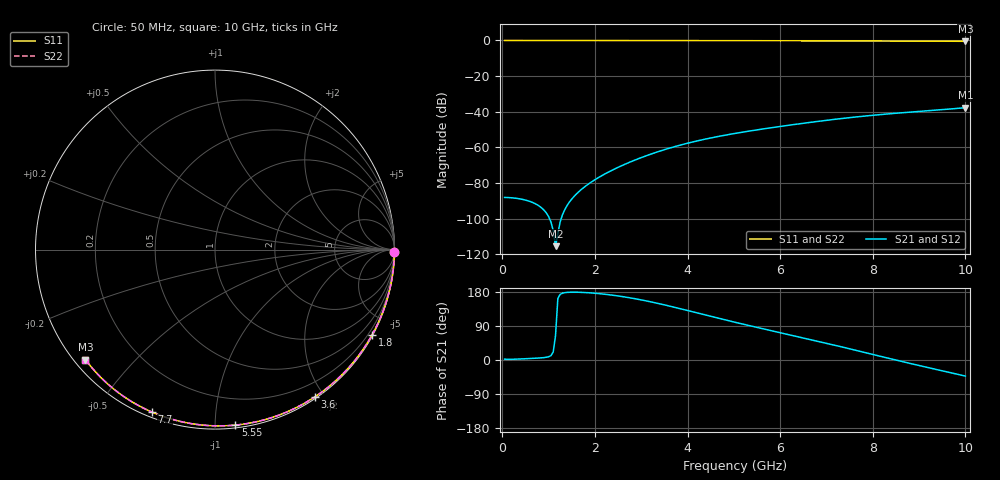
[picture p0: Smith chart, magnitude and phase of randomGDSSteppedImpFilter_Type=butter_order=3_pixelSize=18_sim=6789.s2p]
! freq	dB(S11)	phase(S11)	dB(S12)	phase(S12)
!  dB(S21)	phase(S21)	dB(S22)	phase(S22)
!S-par simulation data
#  GHz  S  DB  R 50
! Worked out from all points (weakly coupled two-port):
!   200 points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, 50 MHz to 10 GHz, reference 50 ohm
!   highest |S21| = -37.71 dB at 10 GHz (marker M1); lowest = -115.4 dB at 1.15 GHz (marker M2)
!   lowest |S11| = -0.5 dB at 10 GHz (marker M3), VSWR 36.75, Z = 1.54 - j18.4 ohm
!   |S11| at or under -10 dB: nowhere
!   |S22| runs from -0.5 to 0.0 dB; largest |S21 - S12| = 0
!   S11 on the Smith chart (normalised r, x): 50 MHz: open; 1.8 GHz: 0.03, -3.92; 3.6 GHz: 0.02, -1.88; 5.55 GHz: 0.02, -1.12; 7.7 GHz: 0.02, -0.68; 10 GHz: 0.03, -0.37
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0.05  -0.00 -0.8  -88.05 2.3  -88.05 2.3  -0.00 -0.8
0.6  -0.01 -9.7  -90.33 3.9  -90.33 3.9  -0.01 -9.7
1.15  -0.02 -18.4  -115.39 65.0  -115.39 65.0  -0.02 -18.4
1.75  -0.04 -27.8  -82.67 178.3  -82.67 178.3  -0.04 -27.8
1.8  -0.04 -28.6  -81.66 177.9  -81.66 177.9  -0.04 -28.6
1.9  -0.04 -30.2  -79.81 177.1  -79.81 177.1  -0.04 -30.2
2.05  -0.04 -32.5  -77.32 175.6  -77.32 175.6  -0.04 -32.5
2.25  -0.05 -35.6  -74.39 173.1  -74.39 173.1  -0.05 -35.6
2.65  -0.05 -41.7  -69.41 166.3  -69.41 166.3  -0.05 -41.7
3  -0.06 -47.0  -65.72 158.6  -65.72 158.6  -0.06 -47.0
3.4  -0.07 -52.9  -62.08 148.3  -62.08 148.3  -0.07 -52.9
3.6  -0.08 -55.9  -60.48 142.6  -60.48 142.6  -0.08 -55.9
3.9  -0.08 -60.3  -58.30 133.7  -58.30 133.7  -0.08 -60.3
4.25  -0.09 -65.3  -56.09 122.9  -56.09 122.9  -0.09 -65.3
5.05  -0.12 -76.5  -52.04 98.9  -52.04 98.9  -0.12 -76.5
5.55  -0.14 -83.4  -49.95 84.6  -49.95 84.6  -0.14 -83.4
6.1  -0.16 -90.7  -47.87 69.4  -47.87 69.4  -0.16 -90.7
6.7  -0.19 -98.6  -45.77 52.7  -45.77 52.7  -0.19 -98.6
7.7  -0.26 -111.3  -42.74 23.6  -42.74 23.6  -0.26 -111.3
8.35  -0.31 -119.4  -41.15 4.2  -41.15 4.2  -0.31 -119.4
9.2  -0.38 -129.9  -39.41 -20.2  -39.41 -20.2  -0.38 -129.9
10  -0.47 -139.6  -37.71 -42.4  -37.71 -42.4  -0.47 -139.6
